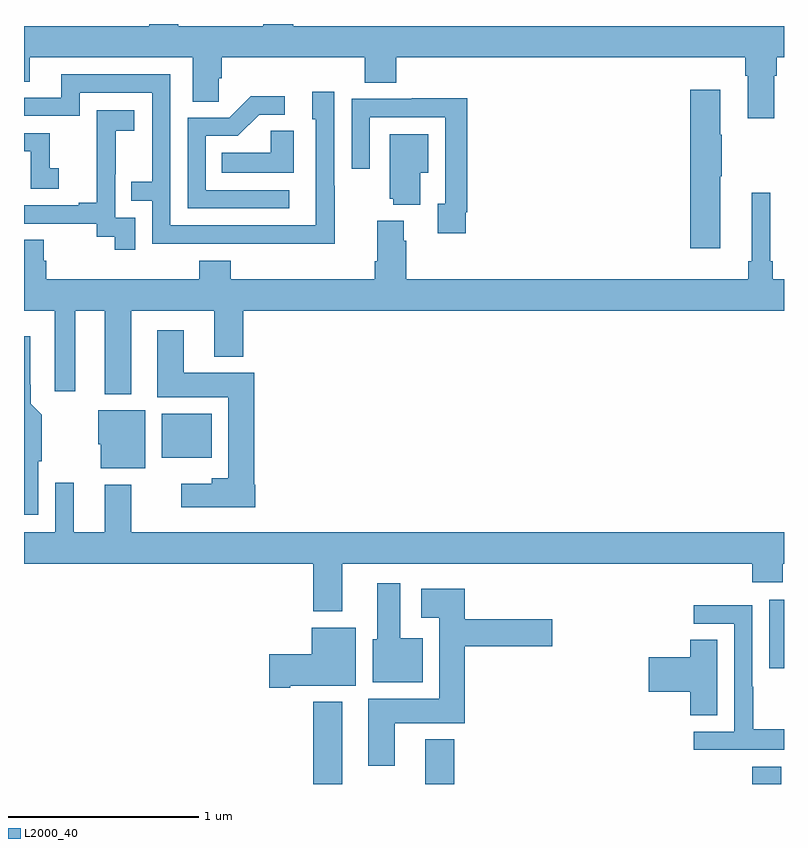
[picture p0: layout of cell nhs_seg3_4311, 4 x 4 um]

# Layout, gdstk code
import gdstk
lib = gdstk.Library(unit=1e-6, precision=1e-09)
def R(c, l, rs):  # rectangles x0, y0, x1, y1
    for r in rs: c.add(gdstk.rectangle(r[:2], r[2:], *l))
def P(c, l, *ps):  # polygons
    for p in ps: c.add(gdstk.Polygon(p, *l))
L2000_40 = (2000, 40)

nhs_seg3_4311 = lib.new_cell('nhs_seg3_4311')
R(nhs_seg3_4311, L2000_40, [(340.523,722.4,340.675,722.833), (341.111,722.4,341.264,722.635), (342.833,722.4,342.985,722.491), (342.923,723.009,343,723.37), (339.725,724.118,339.988,724.348)])
P(nhs_seg3_4311, L2000_40, [(342.949,726.128),(342.962,726.128),(342.962,726.224),(343,726.224),(343,726.388),(340.418,726.388),(340.418,726.4),(340.258,726.4),(340.258,726.388),(339.813,726.388),(339.813,726.4),(339.658,726.4),(339.658,726.388),(339,726.388),(339,726.097),(339.031,726.097),(339.031,726.224),(339.887,726.224),(339.887,725.992),(340.026,725.992),(340.026,726.115),(340.04,726.115),(340.04,726.224),(340.793,726.224),(340.793,726.091),(340.958,726.091),(340.958,726.224),(342.797,726.224),(342.797,726.128),(342.809,726.128),(342.809,725.904),(342.949,725.904)],
  [(340.635,725.549),(340.632,725.549),(340.632,726.043),(340.517,726.043),(340.517,725.898),(340.536,725.898),(340.536,725.34),(339.771,725.34),(339.771,726.135),(339.197,726.135),(339.197,726.012),(339,726.012),(339,725.916),(339.294,725.916),(339.294,726.039),(339.675,726.039),(339.675,725.57),(339.565,725.57),(339.565,725.469),(339.675,725.469),(339.675,725.244),(340.171,725.244),(340.171,725.243),(340.635,725.243)],
  [(342.664,725.599),(342.672,725.599),(342.672,725.816),(342.664,725.816),(342.664,726.055),(342.506,726.055),(342.506,725.22),(342.664,725.22)],
  [(340.396,725.526),(339.957,725.526),(339.957,725.811),(340.126,725.811),(340.237,725.922),(340.372,725.922),(340.372,726.02),(340.193,726.02),(340.08,725.907),(339.861,725.907),(339.861,725.43),(340.396,725.43)],
  [(341.326,725.41),(341.333,725.41),(341.333,726.008),(341.041,726.008),(341.041,726.006),(340.725,726.006),(340.725,725.637),(340.821,725.637),(340.821,725.91),(341.217,725.91),(341.217,725.454),(341.177,725.454),(341.177,725.298),(341.326,725.298)],
  [(339.585,725.379),(339.48,725.379),(339.48,725.609),(339.482,725.609),(339.482,725.837),(339.58,725.837),(339.58,725.947),(339.382,725.947),(339.382,725.741),(339.383,725.741),(339.383,725.458),(339.287,725.458),(339.287,725.445),(339,725.445),(339,725.349),(339.384,725.349),(339.384,725.281),(339.477,725.281),(339.477,725.211),(339.585,725.211)],
  [(340.42,725.837),(340.299,725.837),(340.299,725.722),(340.042,725.722),(340.042,725.618),(340.42,725.618)],
  [(339.184,725.641),(339.135,725.641),(339.135,725.826),(339,725.826),(339,725.73),(339.036,725.73),(339.036,725.532),(339.184,725.532)],
  [(341.086,725.618),(341.128,725.618),(341.128,725.821),(340.925,725.821),(340.925,725.481),(340.943,725.481),(340.943,725.45),(341.086,725.45)],
  [(340.859,725.365),(340.859,725.152),(340.847,725.152),(340.847,725.056),(340.088,725.056),(340.088,725.155),(339.923,725.155),(339.923,725.056),(339.116,725.056),(339.116,725.154),(339.103,725.154),(339.103,725.264),(339,725.264),(339,724.892),(339.161,724.892),(339.161,724.467),(339.271,724.467),(339.271,724.892),(339.425,724.892),(339.425,724.451),(339.565,724.451),(339.565,724.892),(340.001,724.892),(340.001,724.649),(340.154,724.649),(340.154,724.892),(343,724.892),(343,725.056),(342.941,725.056),(342.941,725.152),(342.927,725.152),(342.927,725.512),(342.83,725.512),(342.83,725.152),(342.811,725.152),(342.811,725.056),(341.012,725.056),(341.012,725.258),(340.999,725.258),(340.999,725.365)],
  [(340.216,723.975),(340.211,723.975),(340.211,724.564),(339.841,724.564),(339.841,724.789),(339.701,724.789),(339.701,724.436),(340.076,724.436),(340.076,724.009),(339.989,724.009),(339.989,723.979),(339.828,723.979),(339.828,723.857),(340.216,723.857)],
  [(339.076,724.098),(339.094,724.098),(339.094,724.343),(339.035,724.402),(339.035,724.501),(339.034,724.501),(339.034,724.756),(339,724.756),(339,723.818),(339.076,723.818)],
  [(339.637,724.366),(339.392,724.366),(339.392,724.188),(339.404,724.188),(339.404,724.061),(339.637,724.061)],
  [(340.675,723.56),(342.833,723.56),(342.833,723.461),(342.993,723.461),(342.993,723.56),(343,723.56),(343,723.724),(339.565,723.724),(339.565,723.976),(339.425,723.976),(339.425,723.724),(339.262,723.724),(339.262,723.985),(339.165,723.985),(339.165,723.724),(339,723.724),(339,723.56),(340.523,723.56),(340.523,723.308),(340.675,723.308)],
  [(341.098,723.166),(340.981,723.166),(340.981,723.457),(340.859,723.457),(340.859,723.162),(340.835,723.162),(340.835,722.936),(341.098,722.936)],
  [(340.951,722.72),(341.321,722.72),(341.321,723.125),(341.779,723.125),(341.779,723.267),(341.321,723.267),(341.321,723.427),(341.091,723.427),(341.091,723.275),(341.186,723.275),(341.186,722.848),(340.811,722.848),(340.811,722.496),(340.951,722.496)],
  [(343,722.689),(342.837,722.689),(342.837,722.912),(342.834,722.912),(342.834,723.342),(342.525,723.342),(342.525,723.243),(342.738,723.243),(342.738,722.676),(342.525,722.676),(342.525,722.58),(343,722.58)],
  [(340.402,722.918),(340.747,722.918),(340.747,723.223),(340.514,723.223),(340.514,723.084),(340.29,723.084),(340.29,722.906),(340.402,722.906)],
  [(342.649,723.158),(342.506,723.158),(342.506,723.068),(342.288,723.068),(342.288,722.885),(342.506,722.885),(342.506,722.761),(342.649,722.761)])

lib.write_gds('nhs_seg3_4311.gds')
